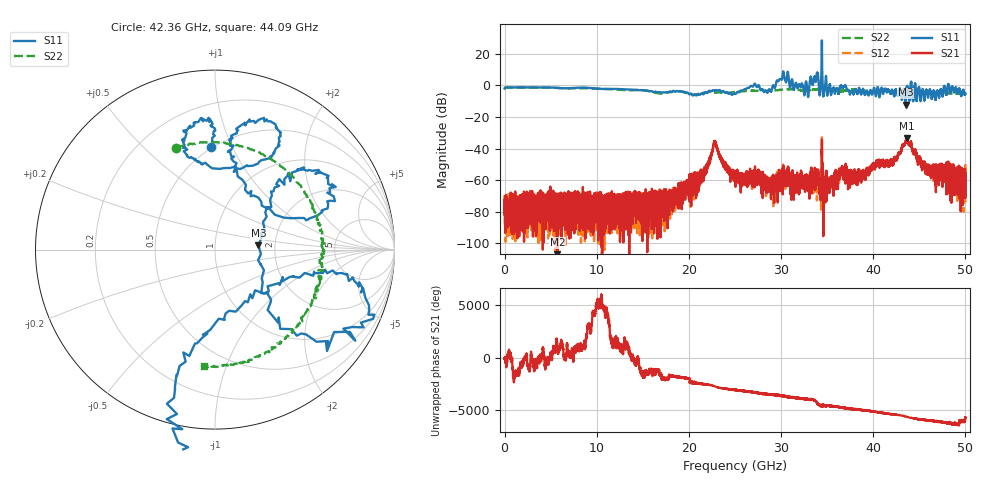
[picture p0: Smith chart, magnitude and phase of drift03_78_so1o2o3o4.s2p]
!Created with skrf (http://scikit-rf.org).
# Hz S RI R 50.0
!freq ReS11 ImS11 ReS21 ImS21 ReS12 ImS12 ReS22 ImS22
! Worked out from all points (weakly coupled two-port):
!   10000 points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, 5.3 MHz to 50 GHz, reference 50 ohm
!   highest |S21| = -33.23 dB at 43.64 GHz (marker M1); lowest = -109.4 dB at 5.73 GHz (marker M2)
!   lowest |S11| = -12.3 dB at 43.52 GHz (marker M3), VSWR 1.64, Z = 81.8 + j4.21 ohm
!   |S11| at or under -10 dB: 43.48312 GHz to 43.55345 GHz (70.33 MHz wide, 0.162 % of centre); 44.30599 GHz to 44.31676 GHz (10.77 MHz wide, 0.0243 % of centre); 45.13499 GHz to 45.1407 GHz (5.714 MHz wide, 0.0127 % of centre) (the widest 3 of 4)
!   |S22| runs from -5.9 to -1.3 dB; largest |S21 - S12| = 0.018
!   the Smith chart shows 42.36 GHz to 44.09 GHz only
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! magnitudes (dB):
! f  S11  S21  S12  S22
! 5.3 MHz  -2.1  -74.5  -74.2  -2.1
! 5.73 GHz  -1.7  -109.4  -74.7  -1.7
! 8.34 GHz  -1.5  -81.9  -84.3  -1.9
! 16.67 GHz  -4.4  -76.0  -72.7  -5.1
! 20.87 GHz  -6.2  -56.8  -59.3  -5.7
! 21.85 GHz  -4.6  -52.6  -54.0  -4.4
! 22.83 GHz  -3.4  -35.7  -35.3  -4.5
! 25.01 GHz  -5.5  -57.2  -54.7  -4.2
! 27.01 GHz  -0.4  -57.8  -59.4  -3.5
! 28.94 GHz  -4.0  -62.1  -71.3  -3.5
! 30.14 GHz  4.5  -52.7  -55.1  -2.7
! 32.74 GHz  2.0  -58.2  -63.8  -3.3
! 33.34 GHz  2.6  -56.5  -58.0  -2.9
! 33.82 GHz  4.3  -56.8  -67.0  -2.6
! 34.84 GHz  3.1  -64.1  -67.0  -2.3
! 36.48 GHz  -0.4  -56.4  -54.2  -3.8
! 38.44 GHz  -1.7  -58.4  -55.4  -3.0
! 41.67 GHz  -2.9  -49.9  -50.4  -3.7
! 43.52 GHz  -12.3  -35.6  -35.7  -4.2
! 43.64 GHz  -1.7  -33.2  -33.5  -4.0
! 46.06 GHz  -4.0  -51.7  -54.5  -5.4
! 50 GHz  -5.2  -56.1  -63.8  -4.9
